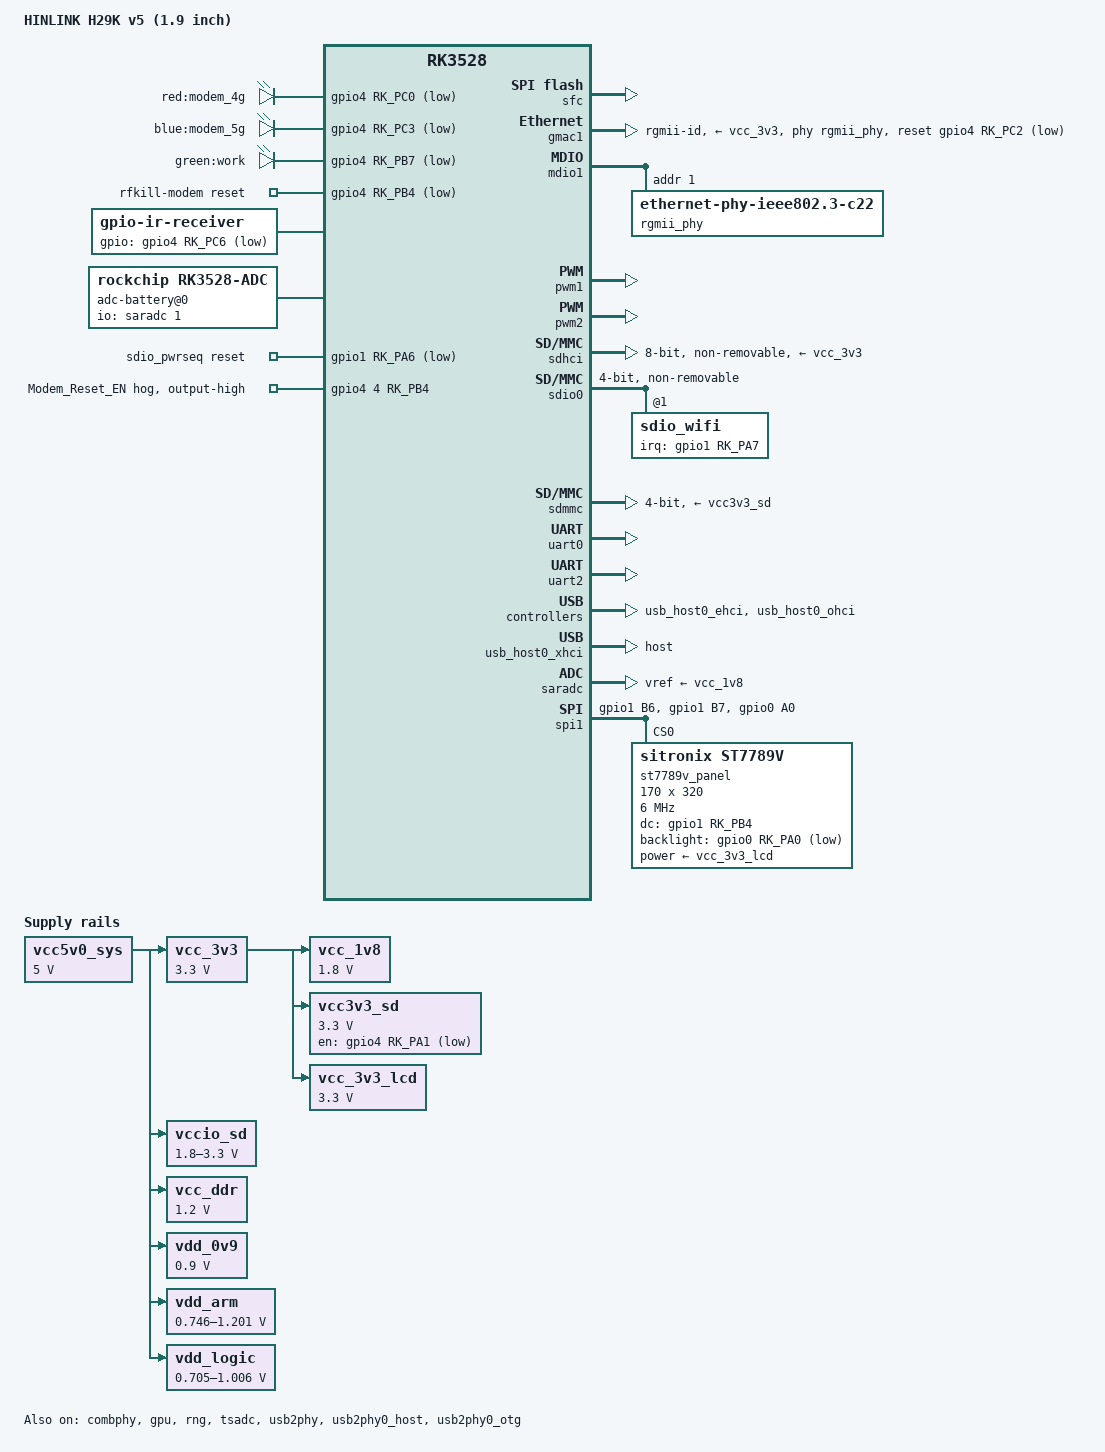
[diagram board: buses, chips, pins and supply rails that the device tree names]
// SPDX-License-Identifier: (GPL-2.0+ OR MIT)

/dts-v1/;
#include <dt-bindings/gpio/gpio.h>
#include <dt-bindings/pinctrl/rockchip.h>

#include "rk3528.dtsi"

/ {
	model = "HINLINK H29K v5 (1.9 inch)";
	// 屏幕: 1.9"  170x320 rot270
	// 屏幕: 1.9"  170x320
	compatible = "hinlink,h29k-v5", "rockchip,rk3528";

	aliases {
		mmc0 = &sdhci;
		mmc1 = &sdmmc;
		mmc2 = &sdio0;
		ethernet0 = &gmac1;

		led-boot = &led_work;
		led-failsafe = &led_work;
		led-running = &led_work;
		led-upgrade = &led_work;

		
	};

	chosen {
		stdout-path = "serial0:1500000n8";
	};

	leds {
		compatible = "gpio-leds";
		pinctrl-names = "default";
		pinctrl-0 = <&modem_4g_led>,<&modem_5g_led>, <&work_led_en>;

		modem_4g: modem_4g {
			label = "red:modem_4g";
			gpios = <&gpio4 RK_PC0 GPIO_ACTIVE_LOW>;
		};

		modem_5g: modem_5g {
			label = "blue:modem_5g";
			gpios = <&gpio4 RK_PC3 GPIO_ACTIVE_LOW>;
		};

		led_work: work {
			label = "green:work";
			gpios = <&gpio4 RK_PB7 GPIO_ACTIVE_LOW>;
		};
	};

	rfkill-modem {
		compatible = "rfkill-gpio";
		name = "rfkill-modem";
		type = "wwan";
		reset-gpios = <&gpio4 RK_PB4 GPIO_ACTIVE_LOW>;
	};

	ir-receiver {
		compatible = "gpio-ir-receiver";
		gpios = <&gpio4 RK_PC6 GPIO_ACTIVE_LOW>;
		pinctrl-names = "default";
		pinctrl-0 = <&ir_int_pin>;
	};


	// 假设您要读取连接到 ADC 通道 0 的电池电压
    adc-battery@0 {
        compatible = "rockchip,rk3528-adc";
        io-channels = <&saradc 1>; // 指定 ADC 通道编号
        io-channel-names = "battery_voltage"; // 通道名称
        status = "okay";
    };
	

	sdio_pwrseq: sdio-pwrseq {
		compatible = "mmc-pwrseq-simple";
		pinctrl-names = "default";
		pinctrl-0 = <&wifi_enable_h>;
		reset-gpios = <&gpio1 RK_PA6 GPIO_ACTIVE_LOW>;
	};

	vcc5v0_sys: vcc5v0-sys {
		compatible = "regulator-fixed";
		regulator-name = "vcc5v0_sys";
		regulator-always-on;
		regulator-boot-on;
		regulator-min-microvolt = <5000000>;
		regulator-max-microvolt = <5000000>;
	};

	vcc_3v3: vcc-3v3 {
		compatible = "regulator-fixed";
		regulator-name = "vcc_3v3";
		regulator-always-on;
		regulator-boot-on;
		regulator-min-microvolt = <3300000>;
		regulator-max-microvolt = <3300000>;
		vin-supply = <&vcc5v0_sys>;
	};

	vcc_1v8: vcc-1v8 {
		compatible = "regulator-fixed";
		regulator-name = "vcc_1v8";
		regulator-always-on;
		regulator-boot-on;
		regulator-min-microvolt = <1800000>;
		regulator-max-microvolt = <1800000>;
		vin-supply = <&vcc_3v3>;
	};

	vcc3v3_sd: vcc3v3-sd {
		compatible = "regulator-fixed";
		gpio = <&gpio4 RK_PA1 GPIO_ACTIVE_LOW>;
		regulator-name = "vcc3v3_sd";
		regulator-always-on;
		regulator-boot-on;
		regulator-min-microvolt = <3300000>;
		regulator-max-microvolt = <3300000>;
		vin-supply = <&vcc_3v3>;
	};

	vcc_3v3_lcd: vcc-3v3-lcd {
		compatible = "regulator-fixed";
		regulator-name = "vcc_3v3_lcd";
		regulator-min-microvolt = <3300000>;
		regulator-max-microvolt = <3300000>;
		vin-supply = <&vcc_3v3>;
	};

	vccio_sd: vccio-sd {
		compatible = "regulator-gpio";
		gpios = <&gpio4 RK_PB6 GPIO_ACTIVE_HIGH>;
		regulator-name = "vccio_sd";
		regulator-min-microvolt = <1800000>;
		regulator-max-microvolt = <3300000>;
		states = <1800000 0x0>, <3300000 0x1>;
		vin-supply = <&vcc5v0_sys>;
	};

	vcc_ddr: vcc-ddr {
		compatible = "regulator-fixed";
		regulator-name = "vcc_ddr";
		regulator-always-on;
		regulator-boot-on;
		regulator-min-microvolt = <1200000>;
		regulator-max-microvolt = <1200000>;
		vin-supply = <&vcc5v0_sys>;
	};

	vdd_0v9: vdd-0v9 {
		compatible = "regulator-fixed";
		regulator-name = "vdd_0v9";
		regulator-always-on;
		regulator-boot-on;
		regulator-min-microvolt = <900000>;
		regulator-max-microvolt = <900000>;
		vin-supply = <&vcc5v0_sys>;
	};

	vdd_arm: vdd-arm {
		compatible = "pwm-regulator";
		pwms = <&pwm1 0 5000 1>;
		regulator-name = "vdd_arm";
		regulator-min-microvolt = <746000>;
		regulator-max-microvolt = <1201000>;
		regulator-always-on;
		regulator-boot-on;
		regulator-settling-time-up-us = <250>;
		pwm-supply = <&vcc5v0_sys>;
	};

	vdd_logic: vdd-logic {
		compatible = "pwm-regulator";
		pwms = <&pwm2 0 5000 1>;
		regulator-name = "vdd_logic";
		regulator-min-microvolt = <705000>;
		regulator-max-microvolt = <1006000>;
		regulator-always-on;
		regulator-boot-on;
		regulator-settling-time-up-us = <250>;
		pwm-supply = <&vcc5v0_sys>;
	};




};

&combphy {
	status = "okay";
};

&cpu0 {
	cpu-supply = <&vdd_arm>;
};

&cpu1 {
	cpu-supply = <&vdd_arm>;
};

&cpu2 {
	cpu-supply = <&vdd_arm>;
};

&cpu3 {
	cpu-supply = <&vdd_arm>;
};

&sfc {
	status = "okay";
};


&gmac1 {
	clock_in_out = "output";
	pinctrl-names = "default";
	pinctrl-0 = <&rgmii_miim
		     &rgmii_tx_bus2
		     &rgmii_rx_bus2
		     &rgmii_rgmii_clk
		     &rgmii_rgmii_bus>;
	phy-handle = <&rgmii_phy>;
	phy-mode = "rgmii-id";
	phy-supply = <&vcc_3v3>;
	snps,reset-active-low;
	snps,reset-delays-us = <0 20000 100000>;
	snps,reset-gpio = <&gpio4 RK_PC2 GPIO_ACTIVE_LOW>;
	status = "okay";
};

&gpu {
	mali-supply = <&vdd_logic>;
	status = "okay";
};

&mdio1 {
	rgmii_phy: phy@1 {
		compatible = "ethernet-phy-ieee802.3-c22";
		reg = <0x1>;
	};
};

&pinctrl {
	ir {
		ir_int_pin: ir-int-pin {
			rockchip,pins = <4 RK_PC6 RK_FUNC_GPIO &pcfg_pull_up>;
		};
	};

	leds {
		//lan_led_en: lan-led-en {
			//rockchip,pins = <4 RK_PC0 RK_FUNC_GPIO &pcfg_pull_none>;
		//};

		//work_led_en: led-work-en {
			//rockchip,pins = <4 RK_PB7 RK_FUNC_GPIO &pcfg_pull_none>;
		//};

		work_led_en: led-work-en {
			rockchip,pins = <4 RK_PB7 RK_FUNC_GPIO &pcfg_pull_none>;
		};

		modem_4g_led: modem_4g_led{
			rockchip,pins = <4 RK_PC0 RK_FUNC_GPIO &pcfg_pull_none>;
		};

		modem_5g_led: modem_5g_led{
			rockchip,pins = <4 RK_PC3 RK_FUNC_GPIO &pcfg_pull_none>;
		};
	};

	wifi {
		wifi_enable_h: wifi-enable-h {
			rockchip,pins = <1 RK_PA6 RK_FUNC_GPIO &pcfg_pull_none>;
		};

		wifi_host_wake: wifi-host-wake {
			rockchip,pins = <1 RK_PA7 RK_FUNC_GPIO &pcfg_pull_down>;
		};
	};

	bluetooth {
		bt_enable_h: bt-enable-h {
			rockchip,pins = <1 RK_PC1 RK_FUNC_GPIO &pcfg_pull_down>;
		};
		uart2m1_gpios: uart2m1-gpios {
			rockchip,pins = <1 RK_PB2 RK_FUNC_GPIO &pcfg_pull_none>;
		};
	};

	modem {
		modem_reset: modem_reset {
			rockchip,pins = <4 RK_PC1 RK_FUNC_GPIO &pcfg_pull_none>;
		};
	};

	lcd {
		lcd_dc_pin: lcd-dc-pin {
			rockchip,pins = <1 RK_PB4 RK_FUNC_GPIO &pcfg_pull_up_drv_level_6>;
		};

		spi1_custom_pins: spi4-custom-pins {
			rockchip,pins =
				/* spi1_clk_m2 */
				<1 RK_PB6 2 &pcfg_pull_none_drv_level_2>,
				/* spi1_mosi_m2 */
				<1 RK_PB7 2 &pcfg_pull_none_drv_level_2>;
		};

		lcd_backlight_pin: lcd-backlight-pin {
            rockchip,pins = <0 RK_PA0 RK_FUNC_GPIO &pcfg_pull_none>;  // 背光引脚
        };
	};

};

&pwm1 {
	status = "okay";
};

&pwm2 {
	status = "okay";
};

&rng {
	status = "okay";
};

&sdhci {
	bus-width = <8>;
	mmc-hs200-1_8v;
	max-frequency = <200000000>;
	non-removable;
	pinctrl-names = "default";
	pinctrl-0 = <&emmc_bus8 &emmc_clk &emmc_cmd &emmc_strb>;
	vmmc-supply = <&vcc_3v3>;
	vqmmc-supply = <&vcc_1v8>;
	status = "okay";
};

&sdio0 {
	#address-cells = <1>;
	#size-cells = <0>;
	bus-width = <4>;
	cap-sd-highspeed;
	cap-sdio-irq;
	keep-power-in-suspend;
	max-frequency = <200000000>;
	mmc-pwrseq = <&sdio_pwrseq>;
	pinctrl-names = "default";
	pinctrl-0 = <&sdio0_bus4 &sdio0_cmd &sdio0_clk>;
	post-power-on-delay-ms = <50>;
	non-removable;
	sd-uhs-sdr104;
	status = "okay";

	sdio_wifi@1 {
		reg = <1>;
		interrupt-parent = <&gpio1>;
		interrupts = <RK_PA7 IRQ_TYPE_LEVEL_HIGH>;
		interrupt-names = "host-wake";
		pinctrl-names = "default";
		pinctrl-0 = <&wifi_host_wake>;
	};
};

&sdmmc {
	bus-width = <4>;
	cap-sd-highspeed;
	disable-wp;
	max-frequency = <150000000>;
	pinctrl-names = "default";
	pinctrl-0 = <&sdmmc_bus4 &sdmmc_clk &sdmmc_cmd &sdmmc_det>;
	rockchip,default-sample-phase = <90>;
	sd-uhs-sdr12;
	sd-uhs-sdr25;
	sd-uhs-sdr50;
	sd-uhs-sdr104;
	vmmc-supply = <&vcc3v3_sd>;
	vqmmc-supply = <&vccio_sd>;
	status = "okay";
};

&tsadc {
	status = "okay";
};

&uart0 {
	pinctrl-names = "default";
	pinctrl-0 = <&uart0m0_xfer>;
	status = "okay";
};

&uart2 {
	pinctrl-names = "default";
	pinctrl-0 = <&uart2m1_xfer &uart2m1_ctsn>;
	status = "okay";
};

&usb2phy {
	status = "okay";
};

&usb2phy0_host {
	phy-supply = <&vcc5v0_sys>;
	status = "okay";
};

&usb_host0_ehci {
	status = "okay";
};

&usb_host0_ohci {
	status = "okay";
};

&usb_host0_xhci {
	dr_mode = "host";
	status = "okay";
};

&usb2phy0_otg {
	phy-supply = <&vcc5v0_sys>;
	vbus-supply = <&vcc_3v3>;
	status = "okay";
};


&gpio4 {
    modem_reset_en {
        gpio-hog;
        gpios = <4 RK_PB4 GPIO_ACTIVE_HIGH>;
        output-high;
        line-name = "Modem_Reset_EN";
    };
};

&saradc {
	vref-supply = <&vcc_1v8>;
	status = "okay";
	

	// adc_channel0: adc-channel@0 {
        // rockchip,channel-id = <0>;
        // rockchip,channel-name = "adc0";
        // rockchip,channel-properties = <1>; /* 表示通道 0 用于电池电压测量 */
    // };
};




&spi1 {  // 定义SPI1制器节点
	#address-cells = <1>;  // 定义子节点的地址单元数量为1
	#size-cells = <0>;  // 定义子节点的大小单元数量为0
	assigned-clocks = <&cru CLK_SPI1>;  // 给SPI1分配一个时钟信号
	assigned-clock-rates = <200000000>;  // 为SPI1分配的时钟频率，200MHz
	num-cs = <1>;  // SPI4控制器最多支持1个CS（芯片选择）引脚
	pinctrl-names = "default";  // 定义管脚控制组名称为"default"
	pinctrl-0 = <&spi1_custom_pins &lcd_backlight_pin>; // 分配SPI引脚和CS引脚
	status = "okay";  // 激活SPI4控制器

	st7789v_panel: panel@0 {  // 定义LCD面板的子节点
		compatible = "sitronix,st7789v";  // 指定LCD面板兼容ST7789V驱动器
		reg = <0>;  // SPI设备地址，通常为0
		power-supply = <&vcc_3v3_lcd>;  // LCD面板的电源输入，连接到3V电源

		pinctrl-names = "default";  // 定义管脚控制组名称为"default"
		pinctrl-0 = <&lcd_dc_pin>;  // 分配数据/命令选择引脚
		dc-gpios = <&gpio1 RK_PB4 GPIO_ACTIVE_HIGH>; // DC 引脚
		backlight-gpios = <&gpio0 RK_PA0 GPIO_ACTIVE_LOW>;  // 背光引脚
		// fps = <20>;  // 刷新率，未启用

		
		/* 1.9 微雪 */
        //spi-max-frequency = <10000000>;  // 6MHz
		//width = <170>;  // 显示屏宽度
		//height = <320>;  // 显示屏高度
		//buswidth = <8>;  // 设置显示屏的总线宽度为8位
		//rotate = <270>;


		/* 1.9 new */
      	spi-max-frequency = <6000000>;  // 6MHz
		width = <170>;  // 显示屏宽度
		height = <320>;  // 显示屏高度
		buswidth = <8>;  // 设置显示屏的总线宽度为8位
		rotate = <270>;
		spi-cpol;  // SPI时钟极性
		spi-cpha;  // SPI时钟相位

		/* 1.9 new 线序不对版本 */
      	//spi-max-frequency = <600000>;  // 6MHz
		//width = <170>;  // 显示屏宽度
		//height = <320>;  // 显示屏高度
		//buswidth = <8>;  // 设置显示屏的总线宽度为8位
		//rotate = <270>;
		//spi-cpol;  // SPI时钟极性
		//spi-cpha;  // SPI时钟相位


		/* debug: 0-7 */
		debug = <0>;  // 调试级别设置，0表示关闭调试

	};
};

